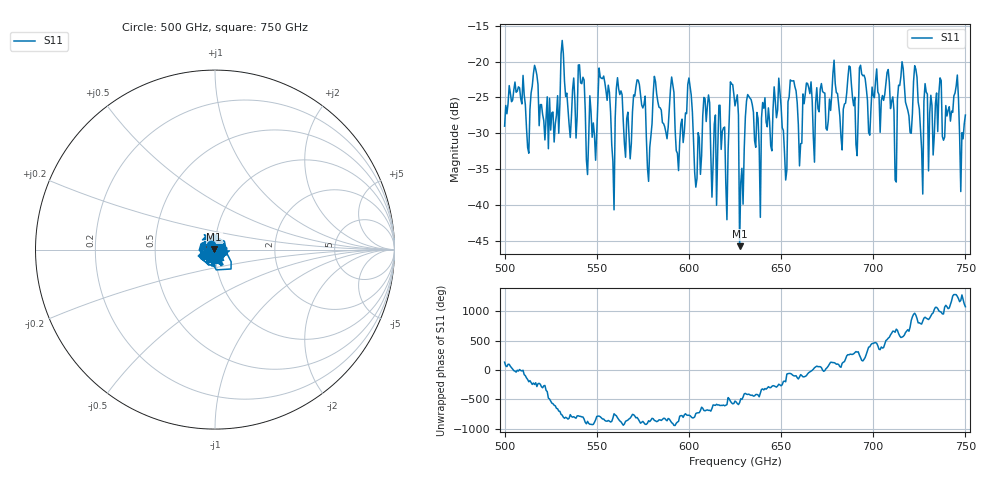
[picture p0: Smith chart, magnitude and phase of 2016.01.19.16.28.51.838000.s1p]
!Created with skrf (http://scikit-rf.org).
# GHz S RI R 50.0
!freq ReS11 ImS11
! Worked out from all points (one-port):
!   401 points, 500 GHz to 750 GHz, reference 50 ohm
!   lowest |S11| = -45.7 dB at 627.5 GHz (marker M1), VSWR 1.01, Z = 49.5 + j0.15 ohm
!   |S11| at or under -10 dB: start of sweep to end of sweep
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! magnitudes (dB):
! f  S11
! 500 GHz  -29.0
! 516.9 GHz  -21.1
! 528.1 GHz  -27.5
! 531.2 GHz  -17.1
! 548.8 GHz  -30.2
! 552.5 GHz  -22.3
! 558.8 GHz  -33.9
! 562.5 GHz  -24.6
! 566.9 GHz  -27.1
! 572.5 GHz  -22.6
! 578.1 GHz  -36.7
! 581.9 GHz  -22.8
! 590.6 GHz  -22.2
! 593.8 GHz  -32.8
! 600.6 GHz  -23.5
! 603.8 GHz  -37.5
! 609.4 GHz  -28.4
! 620 GHz  -36.9
! 625 GHz  -26.2
! 627.5 GHz  -45.7
! 628.8 GHz  -34.9
! 632.5 GHz  -24.9
! 651.9 GHz  -32.8
! 656.2 GHz  -22.7
! 660 GHz  -34.5
! 687.5 GHz  -20.7
! 718.8 GHz  -26.8
! 750 GHz  -27.5
